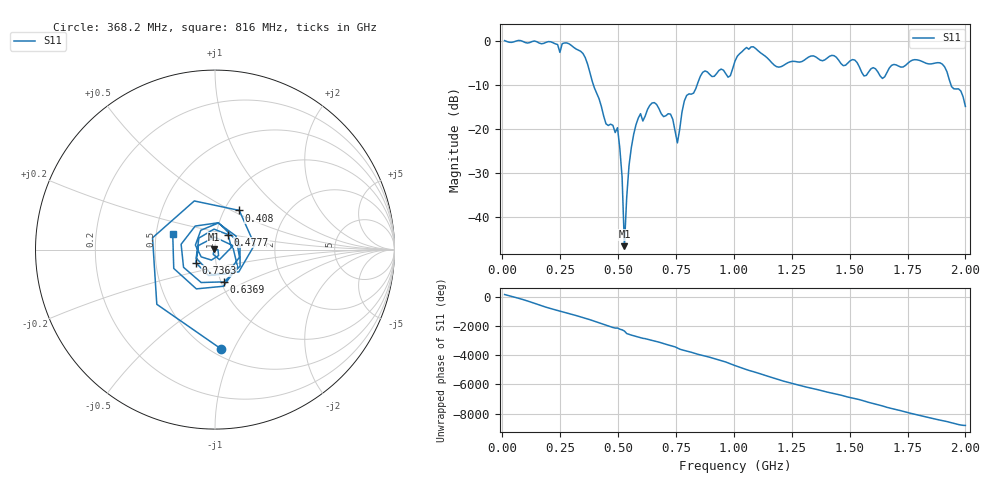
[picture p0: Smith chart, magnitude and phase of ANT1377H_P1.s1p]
!Created with skrf (http://scikit-rf.org).
# Hz S RI R 50.0
!freq ReS11 ImS11
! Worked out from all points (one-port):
!   201 points, 10 MHz to 2 GHz, reference 50 ohm
!   lowest |S11| = -46.6 dB at 527.4 MHz (marker M1), VSWR 1.01, Z = 49.5 + j0.0899 ohm
!   |S11| at or under -10 dB: 394.2 MHz to 840.7 MHz (446.5 MHz wide, 72.3 % of centre); 1.938 GHz to end of sweep
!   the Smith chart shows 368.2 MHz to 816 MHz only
!   S11 on the Smith chart (normalised r, x): 368.2 MHz: 0.56, -0.89; 408 MHz: 1.17, +0.55; 477.6 MHz: 1.14, +0.19; 636.9 MHz: 1.03, -0.39; 736.4 MHz: 0.80, -0.12; 816 MHz: 0.61, +0.11
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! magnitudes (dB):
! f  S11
! 10 MHz  0.2
! 258.8 MHz  -0.5
! 368.2 MHz  -5.1
! 408 MHz  -11.8
! 447.8 MHz  -18.8
! 477.6 MHz  -19.1
! 497.6 MHz  -19.7
! 507.5 MHz  -24.3
! 517.5 MHz  -30.9
! 527.4 MHz  -46.6
! 547.3 MHz  -28.3
! 567.2 MHz  -21.2
! 636.9 MHz  -14.6
! 736.4 MHz  -17.7
! 756.2 MHz  -23.1
! 786.1 MHz  -13.6
! 816 MHz  -12.0
! 865.7 MHz  -7.0
! 975.1 MHz  -8.1
! 1.005 GHz  -4.5
! 1.085 GHz  -1.2
! 1.184 GHz  -5.7
! 1.254 GHz  -4.5
! 1.502 GHz  -4.4
! 1.642 GHz  -8.4
! 1.751 GHz  -5.0
! 1.901 GHz  -5.2
! 2 GHz  -14.8
